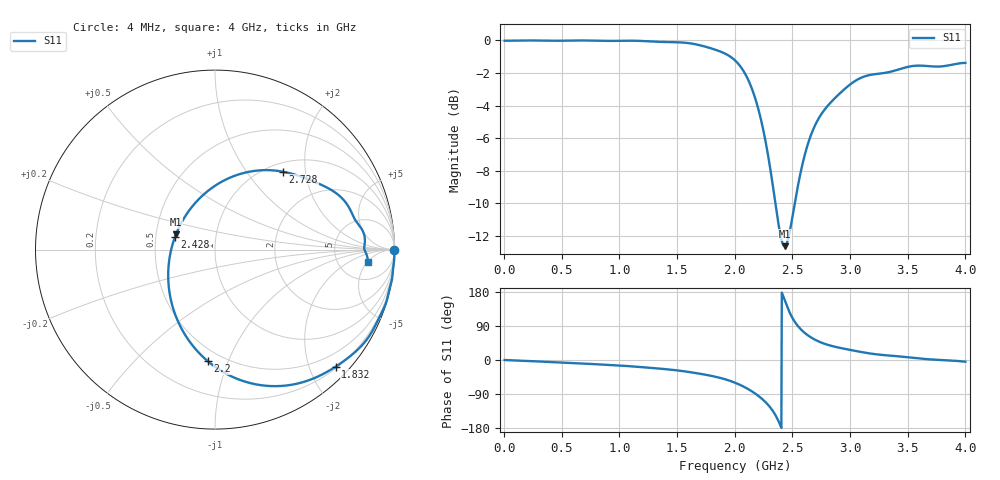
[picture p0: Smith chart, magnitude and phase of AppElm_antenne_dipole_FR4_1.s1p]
! TOUCHSTONE file generated by CST MICROWAVE STUDIO
! Date and time: Thu May 12 14:29:57 2022
! Project name: AppElm_antenne_dipole_FR4.cst
! Parameters = {L=38.8; e=0.035; f=2.45e+09; h=1.6; i=0.6; l1=4; lambda=122.449; ls=30; wl=1.7; ws=80}
! Header version: 2018
! Port assignment regex: !\s*Touchstone port\s*([0-9]+)\s*=\s*(CST MWS port|CST DS port)\s*([0-9]+|Zmin|Zmax)\s*\(\"(.*)\"\)(\s*mode\s*([0-9]+))?.*
! Touchstone port assignment:
! Touchstone port 1 = CST MWS port 1 ("")
# GHz S MA R 50
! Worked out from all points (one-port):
!   1000 points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, 4 MHz to 4 GHz, reference 50 ohm
!   lowest |S11| = -12.6 dB at 2.432 GHz (marker M1), VSWR 1.61, Z = 31.8 + j5.73 ohm
!   |S11| at or under -10 dB: 2.352 GHz to 2.521 GHz (168.5 MHz wide, 6.92 % of centre)
!   S11 on the Smith chart (normalised r, x): 4 MHz: open; 1.832 GHz: 0.23, -2.45; 2.2 GHz: 0.42, -0.85; 2.428 GHz: 0.63, +0.10; 2.728 GHz: 1.16, +1.51; 4 GHz: 10, -5
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0.004  0.998 -0.0
0.504  0.9981 -6.6
1.004  0.9975 -14.7
1.504  0.9872 -27.5
1.668  0.972 -34.7
1.832  0.9365 -44.2
1.924  0.9081 -51.5
2.004  0.8672 -60.1
2.108  0.768 -75.4
2.156  0.6993 -84.2
2.2  0.6235 -93.6
2.264  0.496 -110.4
2.32  0.3784 -130.1
2.388  0.2613 -167.3
2.428  0.2337 161.8
2.432  0.2334 158.5
2.464  0.2468 133.7
2.504  0.2924 108.9
2.552  0.3641 88.0
2.604  0.441 72.2
2.66  0.5114 59.8
2.728  0.5763 48.8
2.836  0.6472 37.5
3.004  0.7341 26.4
3.164  0.7822 17.6
3.504  0.8299 7.2
3.668  0.8346 2.2
4  0.8533 -4.5
